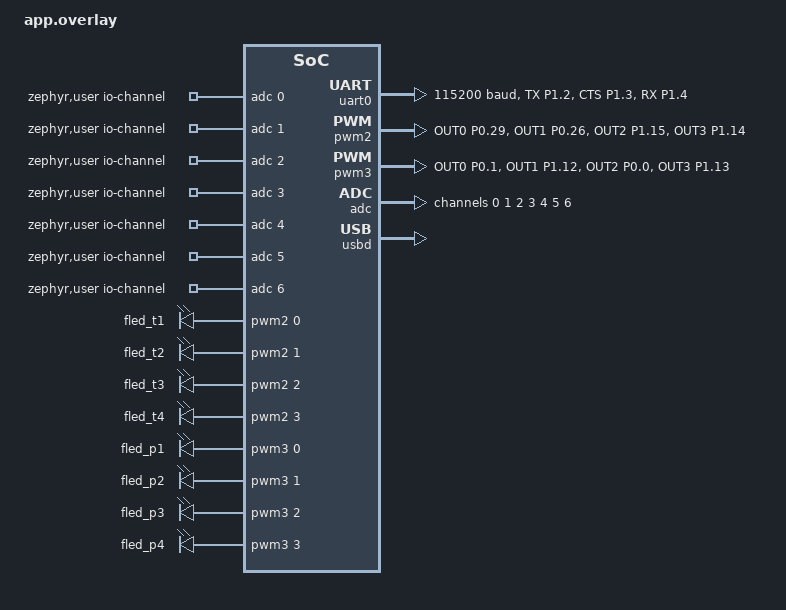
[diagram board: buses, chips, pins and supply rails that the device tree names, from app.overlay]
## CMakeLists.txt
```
cmake_minimum_required(VERSION 3.20.0)
find_package(Zephyr REQUIRED HINTS $ENV{ZEPHYR_BASE})
project(sp1-beacon)
# Pulls in the sample_usbd device_next bring-up helper (sample_usbd_init.c +
# its include dir) used for the USB-CDC console. Mirrors the looper/feldd.
include(${ZEPHYR_BASE}/samples/subsys/usb/common/common.cmake)
# The beacon firmware proper:
#   buttons.c / controls.c  — the SP-1's 2 ladder ADCs -> 9 debounced buttons
#                             (kept from feldd, host-tested in firmware/test)
#   led.c                   — 8-LED PWM drive (kept from feldd)
#   usbdev.c                — CDC-ACM console bring-up
#   wiced_hci.c             — pure WICED-HCI wire codec (host-tested)
#   module_link.c           — CYW20706 runtime link: reset sequencing + UART0
#   bthome.c                — BTHome v2 payload codec + event classifier (host-tested)
target_sources(app PRIVATE
    src/main.c
    src/buttons.c
    src/controls.c
    src/led.c
    src/usbdev.c
    src/wiced_hci.c
    src/module_link.c
    src/bthome.c
    src/cybt_dl.c)          # pure download-protocol core (host-tested); safe to always build
# DEV-ONLY module flasher + dumper. bt_wire.c is the shared download-mode UART
# layer, compiled for either build. bt_download.c (flasher) #includes the
# generated git-ignored src/cybt_blobs.h; bt_dump.c (read-only dumper) needs no
# blobs. The normal image compiles none of these. DUMP and DOWNLOAD are mutually
# exclusive (Kconfig), so bt_wire.c is added at most once.
target_sources_ifdef(CONFIG_SP1_BT_DOWNLOAD app PRIVATE src/bt_wire.c src/bt_download.c)
target_sources_ifdef(CONFIG_SP1_BT_DUMP     app PRIVATE src/bt_wire.c src/bt_dump.c)
# RELEASE on-device provisioning: the same engine, compiled INTO the normal
# firmware (mutually exclusive with the dev modes via Kconfig depends).
target_sources_ifdef(CONFIG_SP1_PROVISION   app PRIVATE src/bt_wire.c src/bt_download.c)
```

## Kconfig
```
# SP-1 beacon firmware application Kconfig.
#
# Pulls in the common USB sample options (CONFIG_SAMPLE_USBD_VID/PID/PRODUCT/...)
# consumed by the vendored sample_usbd_init.c device_next bring-up helper, then
# the standard Zephyr Kconfig tree. Mirrors the sp1-tape-looper/feldd mechanism.

source "samples/subsys/usb/common/Kconfig.sample_usbd"

config SP1_BT_DUMP
	bool "DEV-ONLY: read-only full-flash dump of the CYW20706 module"
	default n
	help
	  Build the read-only flash dumper (bt_dump.c) INSTEAD of the normal beacon
	  control loop. It enters the module's download ROM and READ_RAMs the whole
	  512 KB serial flash (SS + VS + DS), streaming the raw bytes over USB-CDC
	  with an nRF-computed CRC-32 the host re-checks (scripts/dump_recv.py). No
	  minidriver and NO flash-write code is compiled in — structurally read-only.
	  Use it to back up the module before an armed write. It never returns.

config SP1_BT_DOWNLOAD
	bool "DEV-ONLY: CYW20706 module flasher (reflash the radio's DS)"
	depends on !SP1_BT_DUMP
	default n
	help
	  Build the module flasher (bt_download.c) INSTEAD of the normal beacon
	  control loop. It enters the module's download ROM, runs the SS identity
	  gate, loads the minidriver, and performs the SS-preserving DS-only
	  Upgrade Download of the beacon module app (embedded via the generated,
	  git-ignored src/cybt_blobs.h — run scripts/gen_blobs.py first). It never
	  returns. NON-DESTRUCTIVE (identity gate + DS dry-run only) unless
	  SP1_BT_DOWNLOAD_ARM is also set. There is NO chip-erase path anywhere in
	  this subsystem. Console is USB-CDC. See bluetooth/reflashing-the-module.md.

config SP1_BT_DOWNLOAD_ARM
	bool "Arm the DESTRUCTIVE DS write in the module flasher"
	depends on SP1_BT_DOWNLOAD
	default n
	help
	  When unset (default), the flasher runs every non-destructive step —
	  download-mode entry, the SS identity gate, minidriver launch, and a DS
	  dry-run — then STOPS before writing. Set this ONLY to perform the real
	  DS write. The DS-only / floor-check / identity-gate / SS-survives-check
	  guards remain active either way; this switch only enables the write. The
	  write is still DS-only and SS-preserving (never chip-erase). This is the
	  explicit human arm for the first destructive touch of the module flash.

config SP1_PROVISION
	bool "On-device radio provisioning in the release firmware"
	depends on !SP1_BT_DUMP && !SP1_BT_DOWNLOAD
	default n
	help
	  Compile the CYW20706 flashing engine + the embedded beacon module app
	  (generated src/cybt_blobs.h, which must include the SS identity template:
	  gen_blobs.py --ss-template) INTO the normal beacon firmware, so a
	  published binary can provision a radio in any state (stock TE, feldd, or
	  an older beacon app) on-device — feldd's model. Explicit opt-in only:
	  the user holds PLAY for 5 s with USB power present. The write is gated by
	  the full SS template-equality check (a deviating unit is REFUSED, never
	  written), is DS-only and SS-preserving, and there is NO chip-erase path
	  anywhere in the subsystem. See bluetooth/reflashing-the-module.md.

source "Kconfig.zephyr"
```

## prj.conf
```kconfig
# Link the vector table EXACTLY at 0x20000, where the TE bootloader runs the
# app. The marisko board files set BOTH CONFIG_FLASH_LOAD_OFFSET=0x20000 (image
# base) and a default CONFIG_ROM_START_OFFSET=0x20000 (an MCUboot-style header
# pad INSIDE the image); stacked they linked the vectors at 0x40000 and the
# flashed app never booted (dark device, DFU still fine — bench-diagnosed).
# Zero the pad; FLASH_LOAD_OFFSET alone places the image. fw.sh's bin step
# verifies _vector_table == 0x20000 before packaging.
CONFIG_ROM_START_OFFSET=0x0

CONFIG_CLOCK_CONTROL=y
# LFCLK from the calibrated internal RC, NOT synthesized from HFCLK (the
# feldd/marisko choice): SYNTH keeps the 64 MHz oscillator running through
# every sleep — a standing idle drain — for timing stability a beacon doesn't
# need. Calibrated RC is ~±0.05%: the WDT (~8 s), debounce, dwell and linger
# timers are all orders of magnitude more tolerant than that. (The SP-1 has no
# 32k crystal, so the only choices are SYNTH and RC.)
CONFIG_CLOCK_CONTROL_NRF_K32SRC_RC=y
CONFIG_CLOCK_CONTROL_NRF_K32SRC_500PPM=y
CONFIG_PM=y
# Manual per-device PM: module_link suspends the module-link UARTE while the
# CYW20706 is held in reset (an enabled receiver holds its clock request with
# nothing to hear). Explicit action calls only — no runtime auto-suspension.
CONFIG_PM_DEVICE=y
CONFIG_WATCHDOG=y
CONFIG_REBOOT=y
CONFIG_HW_STACK_PROTECTION=y
CONFIG_STACK_SENTINEL=y
CONFIG_GPIO=y

# The sp1 board defconfig (marisko, a stem-player firmware) enables the audio
# codec's I2C + I2S. The beacon firmware touches neither — keep them out of
# the image.
CONFIG_I2C=n
CONFIG_I2S=n

# LED PWM: all 8 LEDs (pwm2=track, pwm3=side) driven via led.c at a global
# brightness. The nrfx PWM driver is auto-selected for the &pwm2/&pwm3 nodes
# enabled in app.overlay.
CONFIG_PWM=y

# SAADC: the two button ladders + the battery divider (controls.c).
CONFIG_ADC=y

# USB on the device_next stack via the sample_usbd helper: a single CDC ACM
# function carrying the console (chosen zephyr,console in app.overlay).
CONFIG_USB_DEVICE_STACK_NEXT=y
CONFIG_USBD_CDC_ACM_CLASS=y
CONFIG_USBD_CDC_ACM_WORKQUEUE=y
CONFIG_USBD_CDC_ACM_STACK_SIZE=2048
# The app owns the single usbd context (sample_usbd_init_device + usbd_enable);
# do NOT let the CDC SYS_INIT build a second private context that fights for
# the controller.
CONFIG_CDC_ACM_SERIAL_INITIALIZE_AT_BOOT=n
CONFIG_SERIAL=y
CONFIG_CONSOLE=y
CONFIG_UART_CONSOLE=y
CONFIG_UART_LINE_CTRL=y
# Interrupt-driven UART: the CDC console uses it, and module_link.c's UART0 RX
# (the CYW20706 WICED-HCI link) is interrupt-driven too.
CONFIG_UART_INTERRUPT_DRIVEN=y
CONFIG_PRINTK=y
CONFIG_HWINFO=y

# USB device identity for the sample_usbd helper. Nordic VID (as feldd, so the
# same WebSerial filter finds it); a fresh PID distinct from feldd's composites
# (0x5211 CDC+MIDI, 0x5212 +HID) since this device is CDC-only.
CONFIG_SAMPLE_USBD_PRODUCT="SP-1 Beacon"
CONFIG_SAMPLE_USBD_VID=0x1915
CONFIG_SAMPLE_USBD_PID=0x5213

# device_next USBD init (descriptor build + class registration) wants headroom
# over the minimum; 4 KB is comfortable for this small app (feldd needed 6 KB
# only for its config-protocol stack frames).
CONFIG_MAIN_STACK_SIZE=4096
```

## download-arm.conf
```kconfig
# DEV-ONLY overlay config: build the module flasher ARMED (performs the DS
# write). Use with fw.sh dlarm. Read bluetooth/reflashing-the-module.md first;
# the write is DS-only + SS-preserving, never chip-erase.
CONFIG_SP1_BT_DOWNLOAD=y
CONFIG_SP1_BT_DOWNLOAD_ARM=y
```

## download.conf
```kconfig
# DEV-ONLY overlay config: build the CYW20706 module flasher (dry-run).
# Use with fw.sh dl, which also pulls in download.overlay.
#   ./scripts/fw.sh dl        # dry-run: identity gate + DS plan, NO write
#   ./scripts/fw.sh dlarm     # ARMED: performs the DS-only write
# Requires the generated src/cybt_blobs.h (scripts/gen_blobs.py) first.
CONFIG_SP1_BT_DOWNLOAD=y
```

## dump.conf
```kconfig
# DEV-ONLY overlay config: build the read-only CYW20706 flash dumper.
# Use with fw.sh dump, which also pulls in download.overlay (uart0 flow off).
#   ./scripts/fw.sh dump        # build the dumper (needs NO cybt_blobs.h)
#   ./scripts/fw.sh monitordump # host receiver (writes the .bin, checks CRC)
CONFIG_SP1_BT_DUMP=y
CONFIG_CRC=y
# The dump has no USB-MIDI, so it doesn't need the CDC's dedicated TX workqueue
# (the normal build adds it to avoid MIDI/stack contention). Dropping it here
# makes uart_poll_out flush through the shared path, which drains reliably while
# the dump loop yields (k_msleep) — the dedicated workqueue was starving.
CONFIG_USBD_CDC_ACM_WORKQUEUE=n
```

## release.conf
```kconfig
# RELEASE overlay config: the publishable beacon firmware with on-device radio
# provisioning compiled in (fw.sh release). Requires the generated
# src/cybt_blobs.h to carry the SS identity template:
#   scripts/gen_blobs.py --minidriver ... --ds ... --ss-template <flash_dump.bin>
CONFIG_SP1_PROVISION=y
```

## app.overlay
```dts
#include <zephyr/dt-bindings/adc/adc.h>
#include <zephyr/dt-bindings/adc/nrf-saadc.h>
#include <zephyr/dt-bindings/pinctrl/nrf-pinctrl.h>
#include <zephyr/dt-bindings/gpio/gpio.h>
#include <zephyr/dt-bindings/pwm/pwm.h>

/ {
    zephyr,user {
        /* idx: 0=ladder tracks(AIN0), 1=ladder vol(AIN1), 2..5=faders1..4
         * (AIN3,6,2,7), 6=battery(AIN4) — the looper's verified map, same
         * order as feldd. */
        io-channels = <&adc 0>, <&adc 1>, <&adc 2>, <&adc 3>, <&adc 4>, <&adc 5>, <&adc 6>;
    };
    chosen { zephyr,console = &cdc_acm_uart0; };
};

&pinctrl {
    /* CYW20706 module WICED-HCI UART (module_link.c). Pins captured on real
     * hardware (bluetooth/hardware-and-architecture.md §1):
     *   nRF TX P1.02 -> module RX,  nRF RX P1.04 <- module TX,
     *   nRF CTS P1.03 <- module RTS (real UARTE flow control).
     * DELIBERATELY NOT pselled: UART_RTS on P1.01 (-> module CTS). That line
     * is the boot-ROM DOWNLOAD-MODE strap (low across a reset release), so
     * module_link.c drives it as a plain GPIO: high through every normal boot,
     * low afterwards so the module may transmit. Mirrors feldd's bt_link
     * "CTS-only hw-flow-control" rule. */
    uart0_default: uart0_default {
        group1 { psels = <NRF_PSEL(UART_TX, 1, 2)>, <NRF_PSEL(UART_CTS, 1, 3)>; };
        group2 { psels = <NRF_PSEL(UART_RX, 1, 4)>; bias-pull-up; };
    };
    uart0_sleep: uart0_sleep {
        group1 {
            psels = <NRF_PSEL(UART_TX, 1, 2)>, <NRF_PSEL(UART_CTS, 1, 3)>,
                    <NRF_PSEL(UART_RX, 1, 4)>;
            low-power-enable;
        };
    };

    /* LED PWM (mirrors the gold sp1-midi BSP stem_player-pinctrl.dtsi).
     * PWM2 = track row, PWM3 = side/play row. Channel->pin per the CANONICAL
     * LED map in sp1_board.h. */
    pwm2_default: pwm2_default { group1 {
        psels = <NRF_PSEL(PWM_OUT0, 0, 29)>,   /* T1 P0.29 */
                <NRF_PSEL(PWM_OUT1, 0, 26)>,   /* T2 P0.26 */
                <NRF_PSEL(PWM_OUT2, 1, 15)>,   /* T3 P1.15 */
                <NRF_PSEL(PWM_OUT3, 1, 14)>;   /* T4 P1.14 */
    }; };
    pwm2_sleep: pwm2_sleep { group1 {
        psels = <NRF_PSEL(PWM_OUT0, 0, 29)>, <NRF_PSEL(PWM_OUT1, 0, 26)>,
                <NRF_PSEL(PWM_OUT2, 1, 15)>, <NRF_PSEL(PWM_OUT3, 1, 14)>;
        low-power-enable;
    }; };
    pwm3_default: pwm3_default { group1 {
        psels = <NRF_PSEL(PWM_OUT0, 0, 1)>,    /* PLAY1 P0.01 */
                <NRF_PSEL(PWM_OUT1, 1, 12)>,   /* PLAY2 P1.12 */
                <NRF_PSEL(PWM_OUT2, 0, 0)>,    /* PLAY3 P0.00 */
                <NRF_PSEL(PWM_OUT3, 1, 13)>;   /* PLAY4 P1.13 (== SP1_LED1) */
    }; };
    pwm3_sleep: pwm3_sleep { group1 {
        psels = <NRF_PSEL(PWM_OUT0, 0, 1)>, <NRF_PSEL(PWM_OUT1, 1, 12)>,
                <NRF_PSEL(PWM_OUT2, 0, 0)>, <NRF_PSEL(PWM_OUT3, 1, 13)>;
        low-power-enable;
    }; };
};

/* CYW20706 module link UART. 115200 8N1, the module's default framing.
 * NO hw-flow-control: the nRF's CTS (P1.03) watches the module's RTS, but the
 * sp1-beacon module app doesn't drive RTS the way feldd's did, so a gated CTS
 * silently blocked every nRF->module transmit (module booted + sent READY, but
 * received no commands -> no STATE_ACK, nothing advertised). The download/flash
 * path already runs flow-control-free and delivers nRF->module bytes reliably;
 * this low-rate (~1 Hz, 14-byte) command link never risks RX-FIFO overflow, so
 * dropping flow control is both the proven config and safe. (module CTS on
 * P1.01 stays module_link.c's GPIO; the module-TX direction is unaffected.) */
&uart0 {
    compatible = "nordic,nrf-uarte";
    status = "okay";
    current-speed = <115200>;
    pinctrl-0 = <&uart0_default>; pinctrl-1 = <&uart0_sleep>; pinctrl-names = "default","sleep";
};

/* Enable the two PWM peripherals that drive the 8 LEDs. ~1 kHz, active-high
 * normal polarity, so duty% == LED brightness. */
&pwm2 {
    status = "okay";
    pinctrl-0 = <&pwm2_default>; pinctrl-1 = <&pwm2_sleep>; pinctrl-names = "default","sleep";
};
&pwm3 {
    status = "okay";
    pinctrl-0 = <&pwm3_default>; pinctrl-1 = <&pwm3_sleep>; pinctrl-names = "default","sleep";
};

/ {
    /* pwm-leds container (gold-BSP pattern). led.c references these child
     * labels in FIXED order: idx 0..3 = track T1..T4, idx 4..7 = side/play
     * LED1..4 (see the CANONICAL LED map in sp1_board.h). */
    feldd_leds: feldd-leds {
        compatible = "pwm-leds";
        fled_t1: fled_t1 { pwms = <&pwm2 0 PWM_USEC(1024) PWM_POLARITY_NORMAL>; };  /* T1 P0.29 */
        fled_t2: fled_t2 { pwms = <&pwm2 1 PWM_USEC(1024) PWM_POLARITY_NORMAL>; };  /* T2 P0.26 */
        fled_t3: fled_t3 { pwms = <&pwm2 2 PWM_USEC(1024) PWM_POLARITY_NORMAL>; };  /* T3 P1.15 */
        fled_t4: fled_t4 { pwms = <&pwm2 3 PWM_USEC(1024) PWM_POLARITY_NORMAL>; };  /* T4 P1.14 */
        fled_p1: fled_p1 { pwms = <&pwm3 0 PWM_USEC(1024) PWM_POLARITY_NORMAL>; };  /* PLAY1 P0.01 */
        fled_p2: fled_p2 { pwms = <&pwm3 1 PWM_USEC(1024) PWM_POLARITY_NORMAL>; };  /* PLAY2 P1.12 */
        fled_p3: fled_p3 { pwms = <&pwm3 2 PWM_USEC(1024) PWM_POLARITY_NORMAL>; };  /* PLAY3 P0.00 */
        fled_p4: fled_p4 { pwms = <&pwm3 3 PWM_USEC(1024) PWM_POLARITY_NORMAL>; };  /* PLAY4 P1.13 */
    };
};

&adc {
    status = "okay";
    #address-cells = <1>;
    #size-cells = <0>;
    channel@0 { reg=<0>; zephyr,gain="ADC_GAIN_1_6"; zephyr,reference="ADC_REF_INTERNAL";
        zephyr,acquisition-time=<ADC_ACQ_TIME(ADC_ACQ_TIME_MICROSECONDS,20)>;
        zephyr,input-positive=<NRF_SAADC_AIN0>; zephyr,resolution=<12>; };   /* ladder: tracks */
    channel@1 { reg=<1>; zephyr,gain="ADC_GAIN_1_6"; zephyr,reference="ADC_REF_INTERNAL";
        zephyr,acquisition-time=<ADC_ACQ_TIME(ADC_ACQ_TIME_MICROSECONDS,20)>;
        zephyr,input-positive=<NRF_SAADC_AIN1>; zephyr,resolution=<12>; };   /* ladder: vol */
    channel@2 { reg=<2>; zephyr,gain="ADC_GAIN_1_6"; zephyr,reference="ADC_REF_INTERNAL";
        zephyr,acquisition-time=<ADC_ACQ_TIME(ADC_ACQ_TIME_MICROSECONDS,20)>;
        zephyr,input-positive=<NRF_SAADC_AIN3>; zephyr,resolution=<12>; };   /* fader1 P0.05 */
    channel@3 { reg=<3>; zephyr,gain="ADC_GAIN_1_6"; zephyr,reference="ADC_REF_INTERNAL";
        zephyr,acquisition-time=<ADC_ACQ_TIME(ADC_ACQ_TIME_MICROSECONDS,20)>;
        zephyr,input-positive=<NRF_SAADC_AIN6>; zephyr,resolution=<12>; };   /* fader2 P0.30 */
    channel@4 { reg=<4>; zephyr,gain="ADC_GAIN_1_6"; zephyr,reference="ADC_REF_INTERNAL";
        zephyr,acquisition-time=<ADC_ACQ_TIME(ADC_ACQ_TIME_MICROSECONDS,20)>;
        zephyr,input-positive=<NRF_SAADC_AIN2>; zephyr,resolution=<12>; };   /* fader3 P0.04 */
    channel@5 { reg=<5>; zephyr,gain="ADC_GAIN_1_6"; zephyr,reference="ADC_REF_INTERNAL";
        zephyr,acquisition-time=<ADC_ACQ_TIME(ADC_ACQ_TIME_MICROSECONDS,20)>;
        zephyr,input-positive=<NRF_SAADC_AIN7>; zephyr,resolution=<12>; };   /* fader4 P0.31 */
    channel@6 { reg=<6>; zephyr,gain="ADC_GAIN_1_6"; zephyr,reference="ADC_REF_INTERNAL";
        zephyr,acquisition-time=<ADC_ACQ_TIME(ADC_ACQ_TIME_MICROSECONDS,20)>;
        zephyr,input-positive=<NRF_SAADC_AIN4>; zephyr,resolution=<12>; };   /* battery P0.28 */
};

/* The nRF52840 USB device-controller nodelabel is &usbd; there is no
 * zephyr_udc0 alias on this SoC. The sample_usbd helper (sample_usbd_init.c)
 * hard-references DT_NODELABEL(zephyr_udc0), so we attach that extra label
 * here and hang the CDC-ACM console child node off it. */
zephyr_udc0: &usbd {
    status = "okay";
    cdc_acm_uart0: cdc_acm_uart0 { compatible = "zephyr,cdc-acm-uart"; };
};
```

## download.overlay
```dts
/*
 * download.overlay — DEV-ONLY DT overlay for the module flasher build.
 *
 * The flasher drives uart0 in POLL mode and owns the module's CTS line (P1.01)
 * as a plain GPIO for the download strap, so the UARTE must NOT do hardware
 * flow control (its CTS gating would stall poll TX). Disable it here; the
 * normal runtime build keeps hw-flow-control in app.overlay. (findings.md:
 * the burner-proven download flow uses flow_ctrl = none.)
 */
&uart0 {
    /delete-property/ hw-flow-control;
};

/*
 * DEV-ONLY console flow control. printk on this board goes through the UART
 * console -> uart_poll_out on cdc_acm_uart0, one char at a time. With no
 * flow control, cdc_acm_poll_out() DISCARDS bytes the instant its tx ring
 * fills (usbd_cdc_acm.c: "Ring buffer full, discard data") — the ~450-byte
 * dump stall. Setting hw-flow-control makes poll_out BLOCK (k_msleep) until
 * the ring drains: lossless, just slower. A bigger ring cuts the block-spin.
 *
 * SAFE for dev builds only: if nothing reads the port, poll_out blocks and
 * the ~8 s WDT resets us (feed_wdt runs before the blocking printk each
 * chunk) — recoverable. The shipping runtime build must NOT enable this
 * (the field beacon has no host reading the console -> would WDT-loop).
 */
&cdc_acm_uart0 {
    hw-flow-control;
    tx-fifo-size = <8192>;   /* 8x the 1024 default; static SRAM, dev-only, RAM is cheap here */
};
```

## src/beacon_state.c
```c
/* beacon_state.c — state-beacon payload codec (see beacon_state.h). Pure C. */
#include "beacon_state.h"

int beacon_state_encode(const struct beacon_state *s, uint8_t seq,
                        uint8_t *out, size_t cap)
{
    if (out == NULL || cap < BEACON_STATE_LEN) {
        return -1;
    }
    out[0] = BEACON_STATE_VER;
    out[1] = seq;
    out[2] = (uint8_t)(s->buttons & 0xFF);
    out[3] = (uint8_t)(s->buttons >> 8);
    for (int i = 0; i < 4; i++) {
        out[4 + i] = s->fader[i];
    }
    out[8] = s->battery;
    return BEACON_STATE_LEN;
}

static int diff_u8(uint8_t a, uint8_t b)
{
    return a > b ? a - b : b - a;
}

bool beacon_state_changed(const struct beacon_state *prev,
                          const struct beacon_state *cur)
{
    if (prev->buttons != cur->buttons) {
        return true;
    }
    for (int i = 0; i < 4; i++) {
        if (diff_u8(prev->fader[i], cur->fader[i]) > BEACON_FADER_DEADBAND) {
            return true;
        }
    }
    /* Battery creeps slowly; a 1-point flicker between ADC reads is noise. */
    if (diff_u8(prev->battery, cur->battery) > 1) {
        return true;
    }
    return false;
}
```

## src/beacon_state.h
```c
#ifndef BEACON_STATE_H
#define BEACON_STATE_H
/*
 * beacon_state.h — the SP-1 state-beacon payload: THE wire format.
 *
 * This is the single source of truth for the bytes that go over the air as
 * BLE manufacturer-specific data. Three parties encode/decode it:
 *   - the nRF firmware (this repo) builds it and pushes it to the module
 *     with the WHCI_FELDD_SET_STATE command,
 *   - the CYW20706 beacon app (M3b, ModusToolbox) embeds it verbatim in a
 *     non-connectable advertisement,
 *   - the receiver (ESP32/HomeSpan) parses it out of the advertisement.
 *
 * Layout (BEACON_STATE_LEN = 9 bytes, all multi-byte fields little-endian):
 *   [0] version        (BEACON_STATE_VER)
 *   [1] seq            bumps on every SIGNIFICANT state change; receivers
 *                      dedupe repeated advertisements by it
 *   [2..3] buttons u16 bit i = button held, indices per buttons.h:
 *                      0=Play 1..4=Track1..4 5=VolUp 6=VolDn 7=FWD 8=RWD
 *                      (•• is the power button and is not reported)
 *   [4..7] fader 1..4  u8, 0..255 (12-bit SAADC >> 4, rail-sag compensated)
 *   [8] battery        percent 0..100, or 0xFF = not yet measured
 *
 * Pure C, host-tested in firmware/test/test_beacon_state.c.
 */
#include <stdint.h>
#include <stddef.h>
#include <stdbool.h>

#define BEACON_STATE_VER 1
#define BEACON_STATE_LEN 9
#define BEACON_BATTERY_UNKNOWN 0xFF

/* Fader movement below this (on the 0..255 scale) is ADC noise, not a user
 * gesture: it does not count as a significant change and never bumps seq. */
#define BEACON_FADER_DEADBAND 3

struct beacon_state {
    uint16_t buttons;
    uint8_t  fader[4];
    uint8_t  battery;
};

/* Encode into out (cap >= BEACON_STATE_LEN). Returns BEACON_STATE_LEN, or -1
 * if it doesn't fit. */
int beacon_state_encode(const struct beacon_state *s, uint8_t seq,
                        uint8_t *out, size_t cap);

/* True if cur differs from prev enough to bump seq and re-send: any button
 * edge, a fader moved past the deadband, or the battery reading changed by
 * more than 1 point. */
bool beacon_state_changed(const struct beacon_state *prev,
                          const struct beacon_state *cur);

#endif /* BEACON_STATE_H */
```

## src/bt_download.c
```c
/*
 * bt_download.c — CYW20706 module flashing engine (see bt_download.h).
 *
 * One engine, two entries: the dev boot-mode flasher (CONFIG_SP1_BT_DOWNLOAD,
 * write armed by CONFIG_SP1_BT_DOWNLOAD_ARM) and release on-device
 * provisioning (CONFIG_SP1_PROVISION, bt_provision_run). Identity + SS
 * template gate, minidriver load, DS plan, DS write + read-back verify, SS
 * re-check, warm boot. The low-level UART / download-mode entry / power-off
 * recovery is shared with the read-only dumper via bt_wire.c.
 *
 * The armed write is HARDWARE-VALIDATED (two DS writes on the keeper, SS
 * byte-identical both times). Read bluetooth/reflashing-the-module.md first.
 */
#include "bt_download.h"
#include "bt_wire.h"
#include "cybt_dl.h"
#include "usbdev.h"
#include "wdt.h"
#include <zephyr/kernel.h>
#include <zephyr/sys/printk.h>

#include "cybt_blobs.h"   /* generated, gitignored: cybt_minidriver[], cybt_ds_image[], addrs */

#if defined(CONFIG_SP1_PROVISION) && !defined(CYBT_HAVE_SS_TEMPLATE)
#error "CONFIG_SP1_PROVISION requires the SS identity template — regenerate cybt_blobs.h with gen_blobs.py --ss-template <known-good flash dump>"
#endif

/* Progress reporting for the provisioning caller's LED display (NULL for the
 * dev boot mode, which narrates over the console instead). */
static bt_prov_progress_t prov_cb;
static void report(enum bt_prov_phase phase, int pct)
{
    if (prov_cb != NULL) {
        prov_cb(phase, pct);
    }
}

/* ---- SS identity gate (ROM-level READ_RAM, no minidriver) ---- */

#define SS_LEN 64

static bool read_ss(uint8_t *out /* SS_LEN */)
{
    bt_wire_flush();   /* clean slate: no stale bytes from the entry handshake */
    for (uint32_t off = 0; off < SS_LEN; off += CYBT_READ_CHUNK) {
        uint8_t chunk = (SS_LEN - off) < CYBT_READ_CHUNK ? (uint8_t)(SS_LEN - off) : CYBT_READ_CHUNK;
        uint8_t cmd[16];
        uint8_t data[CYBT_READ_CHUNK];
        uint16_t dlen = 0;
        int n = cybt_cmd_read_ram(cmd, sizeof(cmd), CYBT_FLASH_BASE + off, chunk);
        if (!bt_wire_cmd_cc(cmd, n, CYBT_OP_READ_RAM, data, sizeof(data), &dlen, 500) || dlen != chunk) {
            return false;
        }
        for (uint16_t i = 0; i < dlen; i++) {
            out[off + i] = data[i];
        }
    }
    return true;
}

static bool identity_gate(void)
{
    uint8_t ss1[SS_LEN], ss2[SS_LEN];
    uint32_t base;

    /* Flash reads are deterministic; require two byte-identical reads so a
     * flaky read can't spoof the gate (findings.md). */
    if (!read_ss(ss1) || !read_ss(ss2)) {
        return false;
    }
    for (int i = 0; i < SS_LEN; i++) {
        if (ss1[i] != ss2[i]) {
            return false;
        }
    }
    if (!cybt_ss_ds_base(ss1, SS_LEN, &base)) {
        return false;
    }
    /* BD_ADDR appears at SS data offset 21 (doc §3); print a few bytes as an
     * eyeball identity aid (not reproduced elsewhere). */
    if (!cybt_ss_gate_ok(ss1, SS_LEN)) {
        return false;
    }
#ifdef CYBT_HAVE_SS_TEMPLATE
    /* feldd's template-equality gate: the whole SS window must match the
     * known-good factory template except the 6 BD_ADDR bytes. Any deviation
     * refuses — never guess, never relocate. */
    if (!cybt_ss_template_ok(ss1, SS_LEN, cybt_ss_template,
                             sizeof(cybt_ss_template))) {
        return false;
    }
#endif
    return true;
}

/* ---- minidriver load ---- */

static bool load_minidriver(void)
{
    uint8_t cmd[16];
    int n = cybt_cmd_download_minidriver(cmd, sizeof(cmd));
    if (!bt_wire_cmd_cc(cmd, n, CYBT_OP_DL_MINIDRIVER, NULL, 0, NULL, 500)) {
        return false;
    }
    uint32_t total = sizeof(cybt_minidriver);
    /* Defense in depth: the minidriver loads into RAM, never flash. Refuse if a
     * corrupt blob address ever pointed this WRITE_RAM at the flash window — the
     * DS floor guards the DS write, and this guards the only other WRITE_RAM. */
    if (CYBT_BLOB_MINIDRIVER_ADDR >= CYBT_FLASH_BASE ||
        (uint64_t)CYBT_BLOB_MINIDRIVER_ADDR + total > CYBT_FLASH_BASE) {
        return false;
    }
    for (uint32_t off = 0; off < total; off += CYBT_WRITE_CHUNK) {
        uint8_t chunk = (total - off) < CYBT_WRITE_CHUNK ? (uint8_t)(total - off) : CYBT_WRITE_CHUNK;
        uint8_t wcmd[8 + CYBT_WRITE_CHUNK];
        int wn = cybt_cmd_write_ram(wcmd, sizeof(wcmd),
                                    CYBT_BLOB_MINIDRIVER_ADDR + off, &cybt_minidriver[off], chunk);
        if (wn < 0 || !bt_wire_cmd_cc(wcmd, wn, CYBT_OP_WRITE_RAM, NULL, 0, NULL, 500)) {
            return false;
        }
        report(BT_PROV_PREP, (int)(20 + off * 80 / total));   /* prep 20..100 */
    }
    int ln = cybt_cmd_launch_ram(cmd, sizeof(cmd), CYBT_BLOB_MINIDRIVER_LAUNCH);
    if (!bt_wire_cmd_cc(cmd, ln, CYBT_OP_LAUNCH_RAM, NULL, 0, NULL, 500)) {
        return false;
    }
    return true;
}

/* ---- DS plan (dry-run) + write (armed) ---- */

static bool ds_plan(void)
{
    uint32_t total = sizeof(cybt_ds_image);
    uint32_t base = CYBT_BLOB_DS_ADDR;

    if (base != CYBT_DS_BASE) {
        return false;
    }
    /* Every chunk must be inside the DS window (the load-bearing floor check). */
    for (uint32_t off = 0; off < total; off += CYBT_WRITE_CHUNK) {
        uint32_t len = (total - off) < CYBT_WRITE_CHUNK ? (total - off) : CYBT_WRITE_CHUNK;
        if (!cybt_addr_in_ds_window(base + off, len)) {
            return false;
        }
    }
    return true;
}

#if defined(CONFIG_SP1_BT_DOWNLOAD_ARM) || defined(CONFIG_SP1_PROVISION)
static bool ds_write_and_verify(void)
{
    uint32_t total = sizeof(cybt_ds_image);
    uint32_t base = CYBT_BLOB_DS_ADDR;

    for (uint32_t off = 0; off < total; off += CYBT_WRITE_CHUNK) {
        uint32_t len = (total - off) < CYBT_WRITE_CHUNK ? (total - off) : CYBT_WRITE_CHUNK;
        /* Re-check EACH chunk against the floor right before emitting it. */
        if (!cybt_addr_in_ds_window(base + off, len)) {
            return false;
        }
        uint8_t wcmd[8 + CYBT_WRITE_CHUNK];
        int wn = cybt_cmd_write_ram(wcmd, sizeof(wcmd), base + off, &cybt_ds_image[off], (uint8_t)len);
        if (wn < 0 || !bt_wire_cmd_cc(wcmd, wn, CYBT_OP_WRITE_RAM, NULL, 0, NULL, 1000)) {
            return false;
        }
        report(BT_PROV_WRITE, (int)(off * 100 / total));
    }
    /* Read-back verify: byte-for-byte compare (findings.md's proof method). */
    for (uint32_t off = 0; off < total; off += CYBT_READ_CHUNK) {
        uint8_t chunk = (total - off) < CYBT_READ_CHUNK ? (uint8_t)(total - off) : CYBT_READ_CHUNK;
        uint8_t cmd[16], rd[CYBT_READ_CHUNK];
        uint16_t dlen = 0;
        int n = cybt_cmd_read_ram(cmd, sizeof(cmd), base + off, chunk);
        if (!bt_wire_cmd_cc(cmd, n, CYBT_OP_READ_RAM, rd, sizeof(rd), &dlen, 1000) || dlen != chunk) {
            return false;
        }
        for (uint16_t i = 0; i < chunk; i++) {
            if (rd[i] != cybt_ds_image[off + i]) {
                return false;
            }
        }
        report(BT_PROV_VERIFY, (int)(off * 100 / total));
    }
    return true;
}

/* SS must survive an armed write byte-identical in what it declares — re-read
 * and re-check the DS base. Returns false on the (never-yet-seen) violation. */
static bool ss_recheck(void)
{
    uint8_t ss[SS_LEN];
    uint32_t base;

    if (read_ss(ss) && cybt_ss_ds_base(ss, SS_LEN, &base) && base == CYBT_DS_BASE) {
        return true;
    }
    return false;
}

/* Warm-boot the module out of download mode into the freshly written app. */
static void warm_boot(void)
{
    uint8_t cmd[16];
    int n = cybt_cmd_launch_ram(cmd, sizeof(cmd), CYBT_LAUNCH_REBOOT);
    bt_wire_tx(cmd, n);
}
#endif /* CONFIG_SP1_BT_DOWNLOAD_ARM || CONFIG_SP1_PROVISION */

#ifdef CONFIG_SP1_BT_DOWNLOAD
void bt_download_run(void)
{
    /* Bring up the USB-CDC console (no SWD/RTT) and give a host a couple of
     * seconds to attach before the log starts. Feed the WDT across the settle. */
    usbdev_start();
    for (int i = 0; i < 25; i++) {
        feed_wdt();
        k_msleep(100);
    }
    bt_wire_init();      /* interrupt-driven RX before any UART traffic */

#ifdef CONFIG_SP1_BT_DOWNLOAD_ARM
#else
#endif

    if (!bt_wire_enter_download()) {
        bt_wire_halt("DL: halted (download-mode entry failed).");
    }
    /* Identity gate BEFORE the minidriver (findings.md): a mismatch aborts
     * before any write machinery is even loaded. */
    if (!identity_gate() || !load_minidriver() || !ds_plan()) {
        bt_wire_halt("DL: halted (aborted before any write).");
    }

#ifdef CONFIG_SP1_BT_DOWNLOAD_ARM
    if (!ds_write_and_verify()) {
        bt_wire_halt("DL: halted (write/verify failed — re-enter download and retry).");
    }
    (void)ss_recheck();
    warm_boot();
#else
#endif

    bt_wire_halt("DL: halted.");
}
#endif /* CONFIG_SP1_BT_DOWNLOAD */

#ifdef CONFIG_SP1_PROVISION
/* On-device provisioning, callable from the normal control loop (see
 * bt_download.h). The same engine as the dev flasher, with the write always
 * compiled, the SS template gate always enforced, and failure RETURNING so
 * the caller keeps its •• power-off escape (every step is timeout-bounded, so
 * this cannot spin forever; a true hang WDT-resets, recoverable). */
bool bt_provision_run(bt_prov_progress_t progress)
{
    bool ok = false;

    prov_cb = progress;
    report(BT_PROV_PREP, 0);

    bt_wire_init();                  /* takes over the module UART from module_link */
    if (!bt_wire_enter_download()) {
        goto out;
    }
    report(BT_PROV_PREP, 10);
    if (!identity_gate()) {          /* incl. the SS template-equality gate */
        goto out;
    }
    report(BT_PROV_PREP, 20);
    if (!load_minidriver() || !ds_plan()) {
        goto out;
    }
    if (!ds_write_and_verify()) {
        goto out;
    }
    if (!ss_recheck()) {
        goto out;                    /* violated invariant: loud stop, no warm boot */
    }
    warm_boot();
    ok = true;
out:
    prov_cb = NULL;
    return ok;
}
#endif /* CONFIG_SP1_PROVISION */
```

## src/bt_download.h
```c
#ifndef BT_DOWNLOAD_H
#define BT_DOWNLOAD_H
/*
 * bt_download.h — CYW20706 module flasher (M4) + on-device provisioning.
 *
 * Two entry points into ONE flashing engine (SS-preserving DS-only Upgrade
 * Download, bluetooth/reflashing-the-module.md §3, host-tested pure core in
 * cybt_dl.c; NO chip-erase path exists anywhere in this subsystem):
 *
 *  - bt_download_run() — DEV-ONLY (CONFIG_SP1_BT_DOWNLOAD): runs INSTEAD of
 *    the normal control loop at boot and never returns. Non-destructive dry
 *    run unless CONFIG_SP1_BT_DOWNLOAD_ARM is also set.
 *
 *  - bt_provision_run() — RELEASE (CONFIG_SP1_PROVISION): callable FROM the
 *    normal control loop (the Play-hold consent gesture) to flash the beacon
 *    app onto a radio in any state (stock TE / feldd / older ours). Gated by
 *    the full SS template-equality check (factory template, BD_ADDR-masked) —
 *    an unknown SS refuses, never writes. Returns true on verified success
 *    (the module is warm-booted into the new app), false on refusal/failure
 *    (the module may be left in download mode; the next normal
 *    module_link_power(true) reset recovers it). The caller must re-own the
 *    module UART afterwards (module_link_init()).
 */
#include <stdbool.h>

void bt_download_run(void);   /* dev-only boot mode; never returns */

/* Provisioning progress, for the caller's LED display. phase advances
 * PREP -> WRITE -> VERIFY; pct is 0..100 within the phase. */
enum bt_prov_phase { BT_PROV_PREP, BT_PROV_WRITE, BT_PROV_VERIFY };
typedef void (*bt_prov_progress_t)(enum bt_prov_phase phase, int pct);

bool bt_provision_run(bt_prov_progress_t progress);

#endif /* BT_DOWNLOAD_H */
```

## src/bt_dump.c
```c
/*
 * bt_dump.c — read-only full-flash dump of the CYW20706 module (see bt_dump.h).
 *
 * Pure read: enters download mode (shared bt_wire) and loops READ_RAM over the
 * whole 512 KB serial flash at the ROM level — no minidriver, no WRITE_RAM, no
 * flash-write code compiled in.
 *
 * Delivery: each chunk is HEX-encoded and sent with printk, one line per chunk
 * (">" + 2 hex chars/byte). Raw uart_poll_out on the CDC only ever flushed the
 * initial ~512 B ring and then stopped (it doesn't re-kick the USB IN transfer);
 * printk goes through the console driver, which re-kicks every call and
 * sustains delivery — the same path that reliably carries all the status text.
 * The per-chunk module read (rx_frame, which yields) paces the output so printk
 * never floods. The nRF computes a CRC-32 over the raw bytes; the host decodes
 * the hex and re-checks. Wire framing (host: scripts/dump_recv.py):
 *   "DUMPSTART <base8hex> <len_dec>\n"
 *   ">FFA0..\n"  (one hex line per chunk, in order)   <- the flash contents
 *   "DUMPEND crc32=<8hex>\n"
 */
#include "bt_dump.h"
#include "bt_wire.h"
#include "cybt_dl.h"
#include "usbdev.h"
#include "wdt.h"
#include <zephyr/kernel.h>
#include <zephyr/sys/printk.h>
#include <zephyr/sys/crc.h>
#include <hal/nrf_gpio.h>
#include "sp1_board.h"

/* Bump on every dump-firmware change so the banner proves which build is live. */
#define DUMP_BUILD_TAG "hex-printk"

/* Time-based •• (SP1_FUNC_BTN, direct GPIO) escape: hold •• ~1.5 s to power off.
 * Polled between chunks; time-based so poll frequency doesn't matter. */
static int64_t func_since = -1;
static void escape_check(void)
{
    if (nrf_gpio_pin_read(SP1_FUNC_BTN) == 0) {
        int64_t now = k_uptime_get();
        if (func_since < 0) {
            func_since = now;
        } else if (now - func_since >= 1500) {
            bt_wire_power_off();   /* never returns */
        }
    } else {
        func_since = -1;
    }
}

static void printk_hex_line(const uint8_t *d, uint8_t n)
{
    static const char H[] = "0123456789ABCDEF";
    char buf[2 * CYBT_READ_CHUNK + 1];
    for (uint8_t i = 0; i < n; i++) {
        buf[2 * i]     = H[d[i] >> 4];
        buf[2 * i + 1] = H[d[i] & 0x0F];
    }
    buf[2 * n] = '\0';
    printk(">%s\n", buf);
}

void bt_dump_run(void)
{
    usbdev_start();
    for (int i = 0; i < 30; i++) {   /* WDT-fed USB settle — start monitordump first */
        feed_wdt();
        k_msleep(100);
    }
    bt_wire_init();

    printk("\n=== sp1-beacon FLASH DUMP (read-only) build=%s ===\n", DUMP_BUILD_TAG);
    if (!bt_wire_enter_download()) {
        bt_wire_halt("DUMP: halted (download-mode entry failed).");
    }

    uint32_t base = CYBT_FLASH_BASE;                  /* 0xFF000000 */
    uint32_t len  = CYBT_FLASH_END - CYBT_FLASH_BASE; /* 0x80000 = 512 KB */

    nrf_gpio_cfg_input(SP1_FUNC_BTN, NRF_GPIO_PIN_PULLUP);   /* •• escape */

    printk("DUMPSTART %08X %u\n", base, len);

    uint32_t crc = 0;
    bool ok = true;
    int resyncs = 0;                     /* total download-mode re-entries */
    for (uint32_t off = 0; off < len; off += CYBT_READ_CHUNK) {
        feed_wdt();
        escape_check();   /* •• hold powers off between chunks */
        uint8_t chunk = (len - off) < CYBT_READ_CHUNK ? (uint8_t)(len - off) : CYBT_READ_CHUNK;
        uint8_t cmd[16], data[CYBT_READ_CHUNK];
        uint16_t dlen = 0;
        int n = cybt_cmd_read_ram(cmd, sizeof(cmd), base + off, chunk);

        /* The module has gone silent mid-dump, reproducibly at one address.
         * Tell a recoverable dropout apart from a hard ROM read boundary: on a
         * failed read, reset the module back into download mode
         * (bt_wire_enter_download = RST + flush + autobaud, all read-only) and
         * retry the SAME chunk. Recovers -> it was a dropout (session timeout);
         * still dead after a fresh reset -> genuine boundary. Never writes. */
        int tries = 0;
        while (!bt_wire_cmd_cc(cmd, n, CYBT_OP_READ_RAM, data, sizeof(data), &dlen, 1000) || dlen != chunk) {
            feed_wdt();
            escape_check();
            if (++tries > 5) {
                printk("DUMPABORT at 0x%08X (unrecovered after %d resyncs)\n", base + off, resyncs);
                ok = false;
                break;
            }
            printk("DL: read stalled at 0x%08X — re-entering download mode (retry %d)\n", base + off, tries);
            resyncs++;
            bt_wire_enter_download();     /* RST + flush + autobaud; read-only */
            dlen = 0;
        }
        if (!ok) {
            break;
        }
        crc = crc32_ieee_update(crc, data, chunk);
        printk_hex_line(data, chunk);   /* re-kicks the USB transfer every line */
    }

    if (ok) {
        printk("DUMPEND crc32=%08X\n", crc);
        printk("DUMP: complete — %u bytes, crc32=%08X\n", len, crc);
    }
    bt_wire_halt("DUMP: halted.");
}
```

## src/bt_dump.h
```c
#ifndef BT_DUMP_H
#define BT_DUMP_H
/*
 * bt_dump.h — dev-only, READ-ONLY dump of the CYW20706 module's serial flash.
 *
 * Built under CONFIG_SP1_BT_DUMP; runs instead of the control loop and never
 * returns. Enters download mode and READ_RAMs the whole 512 KB flash
 * (0xFF000000..0xFF080000) at the ROM level (no minidriver, no write path
 * compiled in at all), streaming the raw bytes over the USB-CDC console framed
 * by DUMPSTART/DUMPEND markers, with an nRF-computed CRC-32 the host re-checks.
 * The result is a full backup — including a restorable copy of the module's
 * current DS (the app), taken before any armed write. See scripts/dump_recv.py.
 */
void bt_dump_run(void);   /* never returns */

#endif /* BT_DUMP_H */
```

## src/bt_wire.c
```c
/*
 * bt_wire.c — shared CYW20706 download-mode wire layer (see bt_wire.h).
 *
 * Extracted verbatim from bt_download.c so the flasher and the read-only dumper
 * share one proven implementation of the strap timing, autobaud loop, UART ring,
 * and power-off recovery. Log prefix stays "DL:" for continuity with the bench
 * output we've been reading.
 */
#include "bt_wire.h"
#include "cybt_dl.h"
#include "wdt.h"
#include "controls.h"
#include "buttons.h"
#include "led.h"
#include "sp1_board.h"
#include <zephyr/kernel.h>
#include <zephyr/device.h>
#include <zephyr/devicetree.h>
#include <zephyr/drivers/uart.h>
#include <zephyr/pm/device.h>
#include <zephyr/sys/printk.h>
#include <hal/nrf_gpio.h>
#include <nrfx.h>

#define MODULE_RSTN  NRF_GPIO_PIN_MAP(0, 10)   /* RST_N, active low */
#define MODULE_CTS   NRF_GPIO_PIN_MAP(1, 1)    /* module CTS <- our GPIO; LOW = download strap */

static const struct device *uart = DEVICE_DT_GET(DT_NODELABEL(uart0));

static struct whci_parser parser;

/* ---- interrupt-driven RX ring (poll-mode UARTE drops bytes on the long
 * READ_RAM responses; buffer in an ISR). ---- */
#define RX_RING 1024
static uint8_t  ring[RX_RING];
static volatile uint32_t ring_head, ring_tail, ring_overruns, rx_total;

static void dl_uart_isr(const struct device *dev, void *user_data)
{
    uint8_t buf[64];
    (void)user_data;
    while (uart_irq_update(dev) && uart_irq_rx_ready(dev)) {
        int n = uart_fifo_read(dev, buf, sizeof(buf));
        for (int i = 0; i < n; i++) {
            uint32_t head = ring_head;
            if (head - ring_tail >= RX_RING) {
                ring_overruns++;
                continue;
            }
            ring[head % RX_RING] = buf[i];
            ring_head = head + 1;
            rx_total++;
        }
        if (n <= 0) {
            break;
        }
    }
}

void bt_wire_init(void)
{
    ring_head = ring_tail = ring_overruns = rx_total = 0;
    if (!device_is_ready(uart)) {
        return;
    }
#ifdef CONFIG_PM_DEVICE
    /* The runtime link suspends the UARTE while the module is held in reset;
     * a provisioning session can start from that state. Harmless when the
     * device was never suspended (returns -EALREADY). */
    (void)pm_device_action_run(uart, PM_DEVICE_ACTION_RESUME);
#endif
    uart_irq_callback_user_data_set(uart, dl_uart_isr, NULL);
    uart_irq_rx_enable(uart);
}

void bt_wire_flush(void)
{
    ring_tail = ring_head;
    whci_parser_init(&parser);
}

void bt_wire_tx(const uint8_t *b, int n)
{
    for (int i = 0; i < n; i++) {
        uart_poll_out(uart, b[i]);
    }
}

/* Pull the next complete frame from the ring through the codec, or false on
 * timeout (ms). Feeds the WDT — the sequence spans many seconds. */
static bool rx_frame(struct whci_frame *out, int timeout_ms)
{
    int64_t deadline = k_uptime_get() + timeout_ms;
    while (k_uptime_get() < deadline) {
        feed_wdt();
        while (ring_tail != ring_head) {
            uint8_t byte = ring[ring_tail % RX_RING];
            ring_tail++;
            if (whci_parse_byte(&parser, byte, out)) {
                return true;
            }
        }
        /* SLEEP, don't busy-wait: yields the CPU so lower-priority threads run
         * — critically the USB-CDC TX workqueue that flushes the console. A
         * busy-wait here starved it and the dump stalled once the CDC TX ring
         * filled (~512 B). The RX ISR keeps filling the ring during the sleep. */
        k_msleep(1);
    }
    return false;
}

bool bt_wire_cmd_cc(const uint8_t *cmd, int clen, uint16_t opcode,
                    uint8_t *data, uint16_t cap, uint16_t *dlen, int timeout_ms)
{
    struct whci_frame f;

    bt_wire_tx(cmd, clen);
    while (rx_frame(&f, timeout_ms)) {
        if (f.kind != WHCI_PKT_HCI_EVT || f.event != 0x0E) {
            continue;
        }
        const uint8_t *d;
        uint16_t dl;
        if (cybt_cc_ok(f.payload, f.len, opcode, &d, &dl)) {
            if (data && dlen) {
                uint16_t copy = dl < cap ? dl : cap;
                for (uint16_t i = 0; i < copy; i++) {
                    data[i] = d[i];
                }
                *dlen = copy;
            }
            return true;
        }
    }
    return false;
}

bool bt_wire_enter_download(void)
{
    uint8_t cmd[16];
    int n = cybt_cmd_hci_reset(cmd, sizeof(cmd));

    /* Strap: module CTS LOW across the reset release selects download mode. */
    nrf_gpio_pin_clear(MODULE_CTS);
    nrf_gpio_cfg_output(MODULE_CTS);
    nrf_gpio_pin_clear(MODULE_RSTN);
    nrf_gpio_cfg_output(MODULE_RSTN);
    k_msleep(10);
    nrf_gpio_pin_set(MODULE_RSTN);      /* release reset with CTS still LOW */
    k_msleep(10);

    bt_wire_flush();                    /* drop any pre-download boot chatter */
    /* The ROM re-autobauds on entry: the first one or two HCI_RESETs get
     * dropped. Loop until the ack lands (doc §3/§5). */
    for (int attempt = 0; attempt < 20; attempt++) {
        if (bt_wire_cmd_cc(cmd, n, CYBT_OP_HCI_RESET, NULL, 0, NULL, 200)) {
            return true;
        }
    }
    return false;
}

void bt_wire_power_off(void)
{
    nrf_gpio_pin_clear(MODULE_RSTN);        /* hold the module in reset (BT off) */
    nrf_gpio_cfg_output(MODULE_RSTN);
    nrf_gpio_pin_clear(MODULE_RSTN);
    for (int i = 0; i < LED_COUNT; i++) {
        led_idx(i, false);                  /* LEDs dark = the "off" cue */
    }
    controls_rail(0);                       /* stop powering the ladders */

    /* If •• triggered this it is still held; arming sense-low now would re-wake
     * instantly, so wait for release first (Track1+4 trigger: •• is high, this
     * falls straight through), feeding the WDT meanwhile. */
    while (nrf_gpio_pin_read(SP1_FUNC_BTN) == 0) { feed_wdt(); k_msleep(20); }
    k_msleep(60);

    nrf_gpio_cfg_sense_input(SP1_FUNC_BTN, NRF_GPIO_PIN_PULLUP,
                             NRF_GPIO_PIN_SENSE_LOW);
    NRF_POWER->RESETREAS = 0xFFFFFFFFu;
    __DSB();
    NRF_POWER->SYSTEMOFF = 1u;
    __DSB();
    for (;;) { }
}

void bt_wire_halt(const char *msg)
{
    /* ESCAPE HATCH: dev builds run no control loop, so poll •• (direct GPIO) +
     * the Track 1+4 combo (TRACKS ladder) and power off on a hold. */
    controls_init();
    nrf_gpio_cfg_input(SP1_FUNC_BTN, NRF_GPIO_PIN_PULLUP);
    int func_cnt = 0, trk_cnt = 0;
    for (;;) {
        feed_wdt();
        int func_held = (nrf_gpio_pin_read(SP1_FUNC_BTN) == 0);
        int trk_held  = buttons_in_dfu_band_pure(controls_read_raw(0));
        led_pin(SP1_TRACK_LED1, func_held || trk_held);   /* held-gesture feedback */
        if (func_held) { if (++func_cnt >= 20) bt_wire_power_off(); } else { func_cnt = 0; }  /* ~2 s, matches runtime FUNC_OFF_MS */
        if (trk_held)  { if (++trk_cnt  >= 12) bt_wire_power_off(); } else { trk_cnt  = 0; }  /* ~1.2 s */
        k_msleep(100);
    }
}
```

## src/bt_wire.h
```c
#ifndef BT_WIRE_H
#define BT_WIRE_H
/*
 * bt_wire.h — shared CYW20706 download-mode wire layer (dev-only).
 *
 * The low-level UART I/O + download-mode entry + power-off escape, factored out
 * of bt_download.c so the flasher (bt_download.c) and the read-only dumper
 * (bt_dump.c) drive the module through the SAME proven code — same strap
 * timing, same autobaud loop, same recovery — rather than a fork.
 *
 * Everything here is NORMAL to the read/verify path; the only thing that writes
 * flash lives in bt_download.c behind CONFIG_SP1_BT_DOWNLOAD_ARM.
 */
#include <stdint.h>
#include <stdbool.h>
#include "wiced_hci.h"   /* struct whci_frame */

/* Bring up interrupt-driven RX on uart0 (returns after enabling the ISR).
 * Safe to call once before any module traffic. */
void bt_wire_init(void);

/* Recovery Reset (CTS-low strap) + autobaud HCI_RESET loop. True once the ROM
 * acks — the module is in download mode. */
bool bt_wire_enter_download(void);

/* Drain the RX ring + reset the frame parser (clean slate before an exchange). */
void bt_wire_flush(void);

/* Raw TX to the module UART. */
void bt_wire_tx(const uint8_t *b, int n);

/* Send an H4 command, wait for its command-complete ack; on a status-0 ack copy
 * up to cap bytes of ack data into data (and set *dlen) and return true. On
 * failure logs what it saw. */
bool bt_wire_cmd_cc(const uint8_t *cmd, int clen, uint16_t opcode,
                    uint8_t *data, uint16_t cap, uint16_t *dlen, int timeout_ms);

/* Power the device OFF (SYSTEM_OFF, arms the •• sense-low wake). Never returns. */
void bt_wire_power_off(void);

/* Print msg, then sit in the recovery loop forever: •• (5 s) or Track 1+4
 * (~1.2 s) held powers off, so a halted dev build is always recoverable.
 * Never returns. */
void bt_wire_halt(const char *msg);

#endif /* BT_WIRE_H */
```
